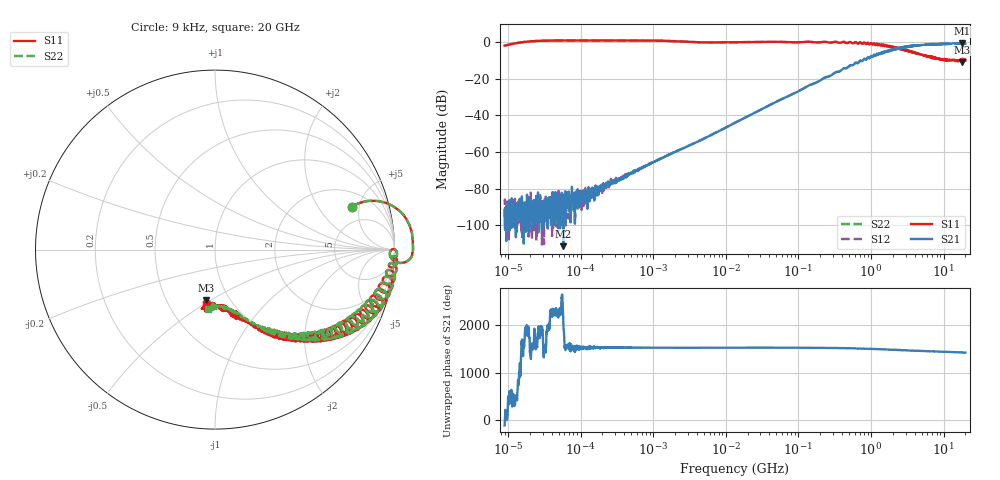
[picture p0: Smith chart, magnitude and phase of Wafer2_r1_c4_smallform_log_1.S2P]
!  2-Port S-parameters saved by WinCal
! VAR MeasName=S-Parameters (CALIBRATED_DATA) read from VNA (P5004A)
! VAR MeasDate=26/04/2024 18:48:30
! VAR NAME=Wafer2_r1_c4_smallform_log
! VAR FILENAME=Wafer2_r1_c4_smallform_log_1.S2P
! VAR DATE=26/04/2024 18:48:36
! VAR PHYS_PORTS=1,2
! VAR ObjTypeName=DATASET
! VAR IndexType=Frequency
# Hz S MA R 50
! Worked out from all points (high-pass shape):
!   2000 points, 9 kHz to 20 GHz, reference 50 ohm
!   highest |S21| = -0.65 dB at 18.05 GHz (marker M1); lowest = -111.4 dB at 58.06 kHz (marker M2)
!   |S21| within 3 dB of the highest: 2.26 GHz to 2.315 GHz (55.03 MHz wide, 2.41 % of centre); 2.348 GHz to end of sweep (the widest 2 of 3)
!   lowest |S11| = -10.9 dB at 18.19 GHz (marker M3), VSWR 1.80, Z = 38.9 - j24 ohm
!   |S11| at or under -10 dB: 12.24 GHz to 12.84 GHz (599.9 MHz wide, 4.78 % of centre); 14.38 GHz to 15.16 GHz (782.4 MHz wide, 5.3 % of centre); 15.45 GHz to 15.92 GHz (466.6 MHz wide, 2.98 % of centre) (the widest 3 of 15)
!   |S22| runs from -10.4 to 0.9 dB; largest |S21 - S12| = 0.037
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9000  0.7978 17.3  2.594e-05 -107.7  1.649e-05 91.2  0.7978 17.3
12971.54  0.9312 17.0  1.903e-05 94.6  7.95e-06 120.5  0.9311 17.0
20409.88  1.044 12.3  2.457e-05 -71.0  2.302e-05 108.8  1.044 12.3
58058.09  1.101 3.9  2.69e-06 -153.6  2.022e-05 154.7  1.101 3.9
103439.5  1.102 2.1  4.594e-05 69.7  2.619e-05 141.5  1.102 2.1
173824.1  1.103 1.1  0.000103 93.5  9.329e-05 93.1  1.103 1.1
204154.8  1.103 0.8  0.0001064 88.1  0.0001199 79.0  1.103 0.8
1180198  1.09 -2.6  0.0006082 87.9  0.0006188 85.5  1.09 -2.6
4530556  0.9807 -2.6  0.0021 86.5  0.002114 86.6  0.9808 -2.6
1.346554e7  0.9859 0.1  0.006259 89.2  0.006305 88.7  0.9861 0.1
1.105652e8  0.9951 -2.1  0.05035 86.5  0.05067 86.1  0.9947 -2.1
1.536358e8  1.001 -5.6  0.07062 82.6  0.06989 82.8  1.001 -5.5
2.966476e8  0.9822 -6.7  0.1311 81.3  0.1324 81.1  0.982 -6.6
7.506948e8  0.8963 -21.0  0.2987 66.2  0.298 66.4  0.898 -20.6
1.752917e9  0.7427 -37.5  0.5553 48.0  0.5582 47.9  0.7424 -37.1
2.945676e9  0.6007 -50.5  0.7195 33.1  0.7259 33.2  0.6035 -49.9
5.646226e9  0.4251 -67.2  0.8433 14.8  0.8483 14.4  0.4236 -66.1
9.488158e9  0.3384 -81.6  0.8887 1.4  0.8791 1.1  0.3374 -76.8
1.347662e10  0.3312 -88.7  0.9227 -6.1  0.9186 -7.0  0.3151 -86.0
1.805428e10  0.3465 -99.4  0.9282 -15.0  0.902 -16.6  0.3012 -92.1
1.818676e10  0.2867 -99.8  0.8827 -16.6  0.8709 -14.5  0.3299 -90.9
2e10  0.3087 -99.3  0.8873 -17.5  0.9006 -16.8  0.3319 -96.5
